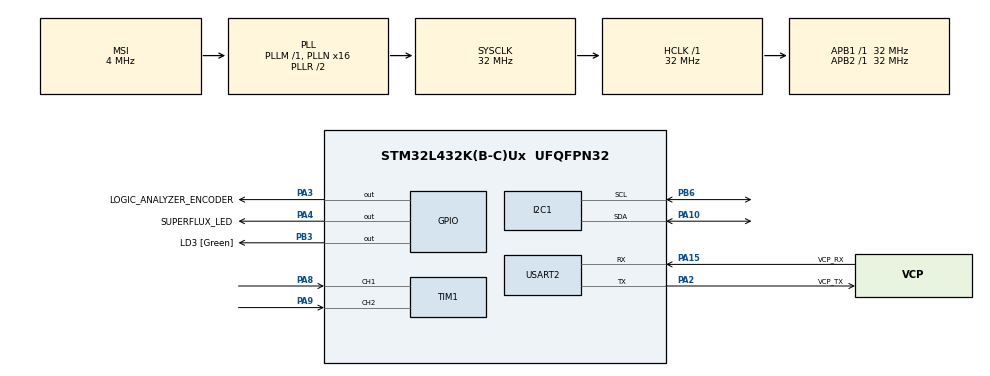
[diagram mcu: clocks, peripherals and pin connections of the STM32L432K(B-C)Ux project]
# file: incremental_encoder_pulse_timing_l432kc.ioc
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I2C1.Timing=0x00B07CB4
Mcu.Family=STM32L4
Mcu.Name=STM32L432K(B-C)Ux
Mcu.Package=UFQFPN32
NVIC.PriorityGroup=NVIC_PRIORITYGROUP_4
NVIC.TIM1_BRK_TIM15_IRQn=true\:0\:0\:false\:false\:true\:true\:true\:true
NVIC.TIM1_CC_IRQn=true\:0\:0\:false\:false\:true\:true\:true\:true
NVIC.TIM2_IRQn=true\:0\:0\:false\:false\:true\:true\:true\:true
PA0.GPIO_Label=MCO [High speed clock in]
PA0.Mode=HSE-External-Clock-Source-for-LittleOrca
PA0.Signal=RCC_CK_IN
PA10.Mode=I2C
PA10.Signal=I2C1_SDA
PA13\ (JTMS-SWDIO).GPIO_Label=SWDIO
PA13\ (JTMS-SWDIO).Mode=Serial_Wire
PA13\ (JTMS-SWDIO).Signal=SYS_JTMS-SWDIO
PA14\ (JTCK-SWCLK).GPIO_Label=SWCLK
PA14\ (JTCK-SWCLK).Mode=Serial_Wire
PA14\ (JTCK-SWCLK).Signal=SYS_JTCK-SWCLK
PA15\ (JTDI).GPIO_Label=VCP_RX
PA15\ (JTDI).Mode=Asynchronous
PA15\ (JTDI).Signal=USART2_RX
PA2.GPIO_Label=VCP_TX
PA2.Mode=Asynchronous
PA2.Signal=USART2_TX
PA3.GPIO_Label=LOGIC_ANALYZER_ENCODER
PA3.Signal=GPIO_Output
PA4.GPIO_Label=SUPERFLUX_LED
PA4.Signal=GPIO_Output
PA8.Signal=S_TIM1_CH1
PA9.Signal=S_TIM1_CH2
PB3\ (JTDO-TRACESWO).GPIO_Label=LD3 [Green]
PB3\ (JTDO-TRACESWO).Signal=GPIO_Output
PB6.Mode=I2C
PB6.Signal=I2C1_SCL
PC14-OSC32_IN\ (PC14).Mode=LSE-External-Oscillator
PC14-OSC32_IN\ (PC14).Signal=RCC_OSC32_IN
PC15-OSC32_OUT\ (PC15).Mode=LSE-External-Oscillator
PC15-OSC32_OUT\ (PC15).Signal=RCC_OSC32_OUT
ProjectManager.HeapSize=0x200
ProjectManager.StackSize=0x400
ProjectManager.TargetToolchain=STM32CubeIDE
RCC.AHBFreq_Value=32000000
RCC.APB1Freq_Value=32000000
RCC.APB1TimFreq_Value=32000000
RCC.APB2Freq_Value=32000000
RCC.APB2TimFreq_Value=32000000
RCC.CortexFreq_Value=32000000
RCC.HCLKFreq_Value=32000000
RCC.HSE_VALUE=8000000
RCC.HSI16_VALUE=16000000
RCC.HSI48_VALUE=48000000
RCC.HSI_VALUE=16000000
RCC.MSI_VALUE=4000000
RCC.PLLMUL=RCC_PLLMUL_4
RCC.PLLN=16
RCC.SYSCLKFreq_VALUE=32000000
RCC.SYSCLKSource=RCC_SYSCLKSOURCE_PLLCLK
RCC.VCOOutputFreq_Value=64000000
SH.S_TIM1_CH1.0=TIM1_CH1,Encoder_Interface
SH.S_TIM1_CH2.0=TIM1_CH2,Encoder_Interface
TIM1.EncoderMode=TIM_ENCODERMODE_TI1
TIM1.IC1Filter=15
TIM1.IC1Polarity=TIM_ICPOLARITY_FALLING
TIM1.IC2Filter=15
TIM1.IC2Polarity=TIM_ICPOLARITY_FALLING
TIM1.TIM_MasterOutputTrigger=TIM_TRGO_OC1
TIM1.TIM_MasterOutputTrigger2=TIM_TRGO2_RESET
TIM1.TIM_MasterSlaveMode=TIM_MASTERSLAVEMODE_DISABLE
TIM15.Channel-Input_Capture1_from_TRC=TIM_CHANNEL_1
TIM15.Prescaler=8-1
TIM15.TIM_MasterSlaveMode=TIM_MASTERSLAVEMODE_DISABLE
TIM2.Period=10000-1
TIM2.Prescaler=32-1
USART2.VirtualMode-Asynchronous=VM_ASYNC
VP_TIM15_VS_CH1.Mode=Input_Capture1_from_TRC
VP_TIM15_VS_ClockSourceINT.Mode=Internal
VP_TIM15_VS_ClockSourceITR.Mode=TriggerSource_ITR0
VP_TIM15_VS_ControllerModeReset.Mode=Reset Mode
VP_TIM2_VS_ClockSourceINT.Mode=Internal
board=NUCLEO-L432KC

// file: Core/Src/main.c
/* USER CODE BEGIN Header */
/**
 ******************************************************************************
 * @file           : main.c
 * @brief          : Main program body
 ******************************************************************************
 * @attention
 *
 * Copyright (c) 2023 STMicroelectronics.
 * All rights reserved.
 *
 * This software is licensed under terms that can be found in the LICENSE file
 * in the root directory of this software component.
 * If no LICENSE file comes with this software, it is provided AS-IS.
 *
 ******************************************************************************
 */
/* USER CODE END Header */
#include "main.h"
#include "i2c.h"
#include "tim.h"
#include "usart.h"
#include "gpio.h"

/* USER CODE BEGIN Includes */
#include <stdio.h>
#include <math.h>
#include "ssd1306.h"
/* USER CODE END Includes */

/* USER CODE BEGIN PD */
#define REFRESH_RATE 100 // ms

#define MICROS_PER_SLAVE_TICK 0.25
#define TICKS_PER_REVOLUTION 8

#define SAMPLING_TIME 0.01
#define TIME_CONSTANT 0.5
#define BETA_COEFF ( SAMPLING_TIME / TIME_CONSTANT )

#define UNIT_RPM
//#define UNIT_RPS

/* USER CODE END PD */

/* USER CODE BEGIN PV */
uint32_t softTimerOLED;
char lcd_line[32];
uint16_t enc_count;
uint16_t enc_period;
double speed_avg;
double speed_filtered;
/* USER CODE END PV */

void SystemClock_Config(void);
/* USER CODE BEGIN PFP */
int8_t TIM_ReadEncDir(TIM_TypeDef *TIMx);
double LowPassFilter(double in_lpf);
/* USER CODE END PFP */

int main(void)
{

  /* MCU Configuration--------------------------------------------------------*/

  /* Reset of all peripherals, Initializes the Flash interface and the Systick. */
  HAL_Init();

  /* Configure the system clock */
  SystemClock_Config();

  /* Initialize all configured peripherals */
  MX_GPIO_Init();
  MX_USART2_UART_Init();
  MX_I2C1_Init();
  MX_TIM1_Init();
  MX_TIM15_Init();
  MX_TIM2_Init();
  /* USER CODE BEGIN 2 */

	HAL_TIM_Encoder_Start_IT(&htim1, TIM_CHANNEL_ALL);

	HAL_TIM_IC_Start_IT(&htim15, TIM_CHANNEL_1);  // pulse timing

	HAL_TIM_Base_Start_IT(&htim2);  // digital filter pacing

	ssd1306_Init();
	ssd1306_Fill(Black);
	ssd1306_SetCursor(2, 0);
	ssd1306_WriteString("Encoder pulse timing", Font_6x8, White);
	ssd1306_UpdateScreen();

//	HAL_Delay(250);

  /* USER CODE END 2 */

  /* Infinite loop */
  /* USER CODE BEGIN WHILE */
	softTimerOLED = HAL_GetTick();
	while (1)
	{
		if ((HAL_GetTick() - softTimerOLED) > REFRESH_RATE)
		{
			softTimerOLED = HAL_GetTick();

			ssd1306_Fill(Black);
			ssd1306_SetCursor(2, 0);
			ssd1306_WriteString("Encoder pulse timing", Font_6x8, White);

			sprintf(lcd_line, "ENC_COUNT = %u  ", enc_count);
			ssd1306_SetCursor(5, 15);
			ssd1306_WriteString(lcd_line, Font_6x8, White);
			sprintf(lcd_line, "ENC_DIR = %i  ", TIM_ReadEncDir(TIM1));
			ssd1306_SetCursor(5, 25);
			ssd1306_WriteString(lcd_line, Font_6x8, White);
			sprintf(lcd_line, "T_PULSE = %i", enc_period);
			ssd1306_SetCursor(5, 35);
			ssd1306_WriteString(lcd_line, Font_6x8, White);

#ifdef UNIT_RPS
			sprintf(lcd_line, "SPEED = %.2f [rps]", speed_avg);
			ssd1306_SetCursor(5, 47);
			ssd1306_WriteString(lcd_line, Font_6x8, White);
			sprintf(lcd_line, "W = %.1f [rps x10000]", speed_filtered / 10000);
			ssd1306_SetCursor(5, 56);
			ssd1306_WriteString(lcd_line, Font_6x8, White);
#endif

#ifdef UNIT_RPM
			sprintf(lcd_line, "W = %.0f [rpm]", speed_avg);
			ssd1306_SetCursor(5, 47);
			ssd1306_WriteString(lcd_line, Font_6x8, White);
			sprintf(lcd_line, "W = %.1f [rpm x1000]", speed_filtered / 1000);
			ssd1306_SetCursor(5, 56);
			ssd1306_WriteString(lcd_line, Font_6x8, White);
#endif

			ssd1306_UpdateScreen();
		}
    /* USER CODE END WHILE */

	}
}

void SystemClock_Config(void)
{
  RCC_OscInitTypeDef RCC_OscInitStruct = {0};
  RCC_ClkInitTypeDef RCC_ClkInitStruct = {0};

  /** Configure the main internal regulator output voltage
  */
  if (HAL_PWREx_ControlVoltageScaling(PWR_REGULATOR_VOLTAGE_SCALE1) != HAL_OK)
  {
    Error_Handler();
  }

  /** Configure LSE Drive Capability
  */
  HAL_PWR_EnableBkUpAccess();
  __HAL_RCC_LSEDRIVE_CONFIG(RCC_LSEDRIVE_LOW);

  /** Initializes the RCC Oscillators according to the specified parameters
  * in the RCC_OscInitTypeDef structure.
  */
  RCC_OscInitStruct.OscillatorType = RCC_OSCILLATORTYPE_LSE|RCC_OSCILLATORTYPE_MSI;
  RCC_OscInitStruct.LSEState = RCC_LSE_ON;
  RCC_OscInitStruct.MSIState = RCC_MSI_ON;
  RCC_OscInitStruct.MSICalibrationValue = 0;
  RCC_OscInitStruct.MSIClockRange = RCC_MSIRANGE_6;
  RCC_OscInitStruct.PLL.PLLState = RCC_PLL_ON;
  RCC_OscInitStruct.PLL.PLLSource = RCC_PLLSOURCE_MSI;
  RCC_OscInitStruct.PLL.PLLM = 1;
  RCC_OscInitStruct.PLL.PLLN = 16;
  RCC_OscInitStruct.PLL.PLLP = RCC_PLLP_DIV7;
  RCC_OscInitStruct.PLL.PLLQ = RCC_PLLQ_DIV2;
  RCC_OscInitStruct.PLL.PLLR = RCC_PLLR_DIV2;
  if (HAL_RCC_OscConfig(&RCC_OscInitStruct) != HAL_OK)
  {
    Error_Handler();
  }

  /** Initializes the CPU, AHB and APB buses clocks
  */
  RCC_ClkInitStruct.ClockType = RCC_CLOCKTYPE_HCLK|RCC_CLOCKTYPE_SYSCLK
                              |RCC_CLOCKTYPE_PCLK1|RCC_CLOCKTYPE_PCLK2;
  RCC_ClkInitStruct.SYSCLKSource = RCC_SYSCLKSOURCE_PLLCLK;
  RCC_ClkInitStruct.AHBCLKDivider = RCC_SYSCLK_DIV1;
  RCC_ClkInitStruct.APB1CLKDivider = RCC_HCLK_DIV1;
  RCC_ClkInitStruct.APB2CLKDivider = RCC_HCLK_DIV1;

  if (HAL_RCC_ClockConfig(&RCC_ClkInitStruct, FLASH_LATENCY_1) != HAL_OK)
  {
    Error_Handler();
  }

  /** Enable MSI Auto calibration
  */
  HAL_RCCEx_EnableMSIPLLMode();
}

/* USER CODE BEGIN 4 */
int8_t TIM_ReadEncDir(TIM_TypeDef *TIMx)
{

	if (((TIMx->CR1) & (0x00000001 << 4)) == 0)  // DIR bit
	{
		return 1;
	}
	else
	{
		return -1;
	}

}

void HAL_TIM_IC_CaptureCallback(TIM_HandleTypeDef *htim)
{

	if (htim->Instance == TIM15)
	{
		enc_period = TIM15->CCR1;
		HAL_GPIO_TogglePin(LOGIC_ANALYZER_ENCODER_GPIO_Port,
		LOGIC_ANALYZER_ENCODER_Pin);
		HAL_GPIO_TogglePin(SUPERFLUX_LED_GPIO_Port,
		SUPERFLUX_LED_Pin);
	}

	if (htim->Instance == TIM1)
	{
		enc_count = __HAL_TIM_GET_COUNTER(&htim1);
	}

}

double LowPassFilter(double in_lpf)
{

	static double out_lpf = 0;
	if ((in_lpf == INFINITY) || (in_lpf == -INFINITY))
	{
		in_lpf = 0;
	}
	out_lpf = in_lpf * BETA_COEFF + out_lpf * (1 - BETA_COEFF);
	return out_lpf;

}

void HAL_TIM_PeriodElapsedCallback(TIM_HandleTypeDef *htim)
{

	if (htim->Instance == TIM2)
	{

#ifdef UNIT_RPS
		speed_avg = ((float) TIM_ReadEncDir(TIM1)) * 1000000.0
				/ TICKS_PER_REVOLUTION / MICROS_PER_SLAVE_TICK / enc_period;
#endif

#ifdef UNIT_RPM
		speed_avg = ((float) TIM_ReadEncDir(TIM1)) * 1000000.0
				/ TICKS_PER_REVOLUTION / MICROS_PER_SLAVE_TICK / enc_period
				* 60.0;
#endif

		speed_filtered = LowPassFilter(speed_avg);

	}

}
/* USER CODE END 4 */

void Error_Handler(void)
{
	__disable_irq();
	while (1)
	{
	}
}
